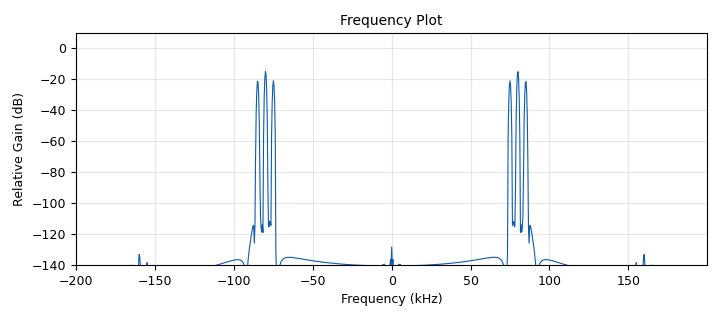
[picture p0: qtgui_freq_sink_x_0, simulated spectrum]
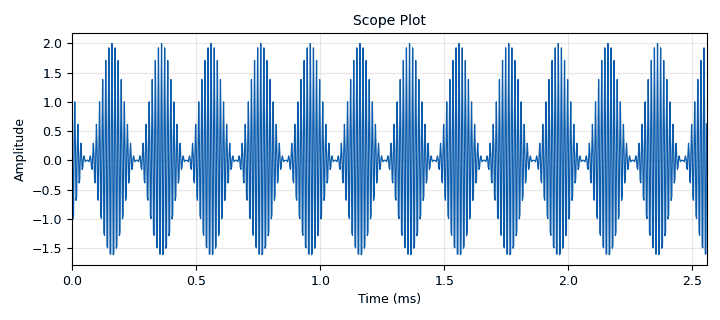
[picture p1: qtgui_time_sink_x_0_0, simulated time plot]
options:
  parameters:
    author: labsdr
    generate_options: qt_gui
    id: top_block
    output_language: python
  states: {}

blocks:
- name: samp_rate
  id: variable
  parameters:
    value: '400000'
  states: {}
- name: analog_sig_source_x_0
  id: analog_sig_source_x
  parameters:
    amp: '1'
    freq: '0'
    offset: '0'
    phase: '0'
    samp_rate: samp_rate
    type: float
    waveform: analog.GR_COS_WAVE
  states: {}
- name: analog_sig_source_x_0_0
  id: analog_sig_source_x
  parameters:
    amp: '1'
    freq: '80000'
    offset: '0'
    phase: '0'
    samp_rate: samp_rate
    type: float
    waveform: analog.GR_COS_WAVE
  states: {}
- name: analog_sig_source_x_1
  id: analog_sig_source_x
  parameters:
    amp: '1'
    freq: '5000'
    offset: '0'
    phase: '0'
    samp_rate: samp_rate
    type: float
    waveform: analog.GR_COS_WAVE
  states: {}
- name: blocks_add_xx_0
  id: blocks_add_xx
  parameters:
    type: float
  states: {}
- name: blocks_multiply_xx_0
  id: blocks_multiply_xx
  parameters:
    type: float
  states: {}
- name: blocks_throttle_0
  id: blocks_throttle
  parameters:
    samples_per_second: samp_rate
    type: float
  states: {}
- name: qtgui_freq_sink_x_0
  id: qtgui_freq_sink_x
  parameters:
    bw: samp_rate
    fc: '0'
    fftsize: '1024'
    name: '"Frequency Plot"'
    type: float
  states: {}
- name: qtgui_time_sink_x_0_0
  id: qtgui_time_sink_x
  parameters:
    autoscale: 'True'
    name: '"Scope Plot"'
    size: '1024'
    srate: samp_rate
    type: float
    ymax: '2.2'
    ymin: '-2'
    yunit: ''
  states: {}

connections:
- [analog_sig_source_x_0, '0', blocks_add_xx_0, '1']
- [analog_sig_source_x_0_0, '0', blocks_multiply_xx_0, '1']
- [analog_sig_source_x_1, '0', blocks_add_xx_0, '0']
- [blocks_add_xx_0, '0', blocks_multiply_xx_0, '0']
- [blocks_multiply_xx_0, '0', blocks_throttle_0, '0']
- [blocks_throttle_0, '0', qtgui_freq_sink_x_0, '0']
- [blocks_throttle_0, '0', qtgui_time_sink_x_0_0, '0']

metadata:
  file_format: 1
